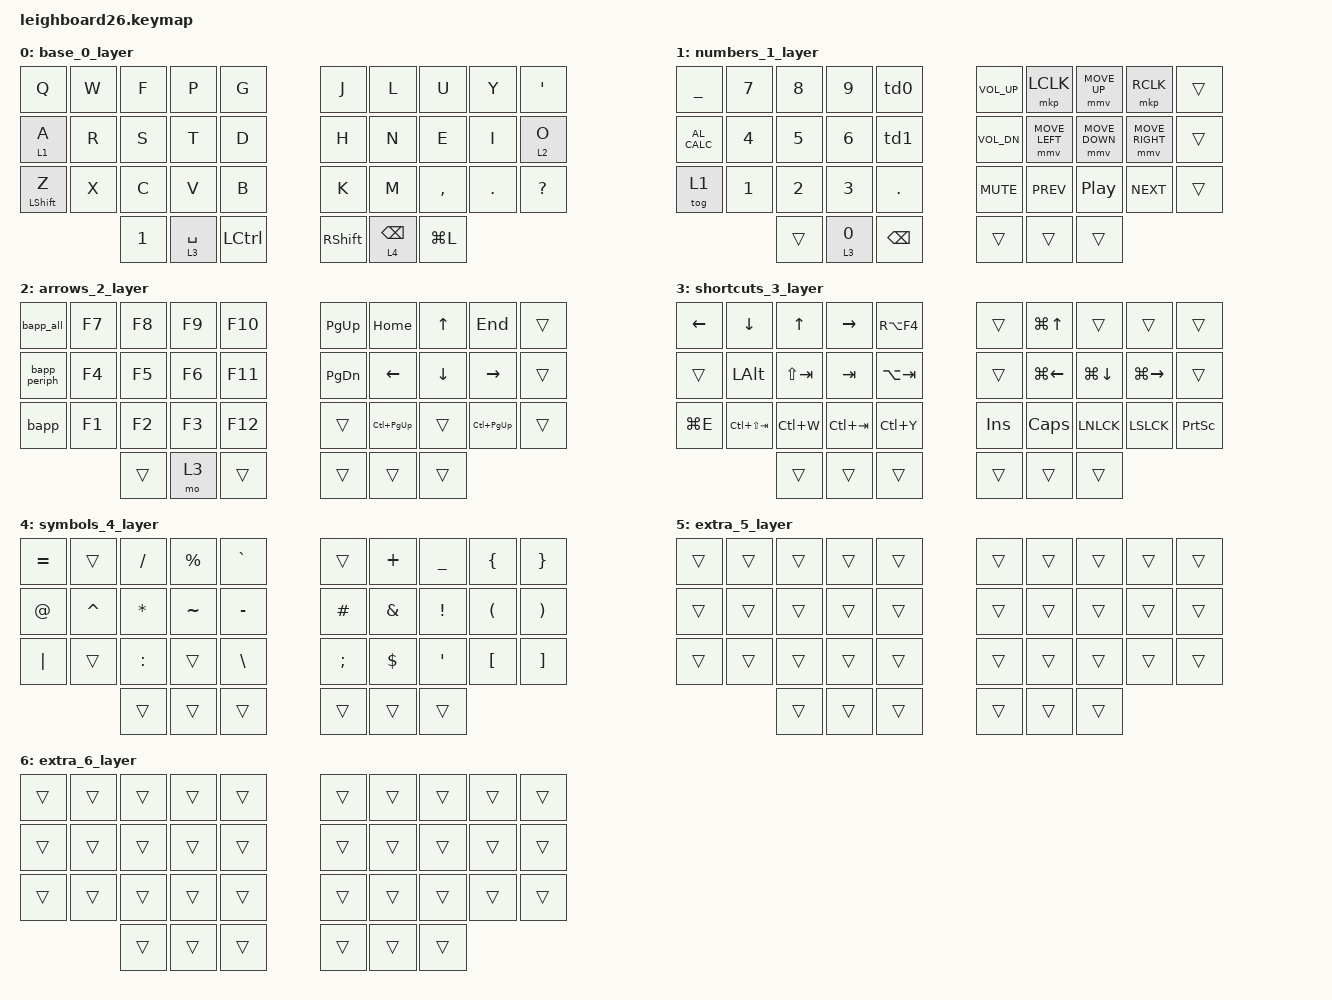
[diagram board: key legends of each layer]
#include <behaviors.dtsi>
#include <dt-bindings/zmk/keys.h>
#include <dt-bindings/zmk/pointing.h>
#include <behaviors/battery_percentage_printer.dtsi>

#define BASE_0 0
#define NUMBERS_1 1
#define ARROWS_2 2
#define SHORTCUTS_3 3
#define SYMBOLS_4 4
#define EXTRA_5 5
#define EXTRA_6 6

/ {
    behaviors {
        td0: td_slash_star {
            compatible = "zmk,behavior-tap-dance";
            #binding-cells = <0>;
            tapping-term-ms = <400>;
            bindings = <&kp FSLH>, <&kp STAR>;
        };
                td1: td_minus_plus {
            compatible = "zmk,behavior-tap-dance";
            #binding-cells = <0>;
            tapping-term-ms = <400>;
            bindings = <&kp MINUS>, <&kp PLUS>;
        };
    };

    macros {
        m_leigh_b: m_leigh_b {
            compatible = "zmk,behavior-macro";
            #binding-cells = <0>; 
            bindings
                = <&kp L &kp E &kp I &kp G &kp H>
                  , <&kp DOT>
                  , <&kp B &kp O &kp T &kp T &kp E &kp C &kp H &kp I &kp A>
                  , <&kp AT>
                  , <&kp R &kp I &kp O &kp T &kp I &kp N &kp T &kp O>
                  , <&kp DOT>
                  , <&kp C &kp O &kp M>;
        };

        m_login: m_login {
            compatible = "zmk,behavior-macro";
            #binding-cells = <0>;
            bindings = <&kp N6 &kp N0 &kp N0 &kp N6 &kp N1 &kp N8>;
        };

        m_bday: m_bday {
            compatible = "zmk,behavior-macro";
            #binding-cells = <0>;
            bindings = <&kp N1 &kp N8 &kp N0 &kp N3 &kp N9 &kp N4>;
        };
    };
    
        combos {
            compatible = "zmk,combos";
                    combo_esc {
                timeout-ms = <35>;
                key-positions = <20 21>;
                layers = <0 1>;
                bindings = <&kp ESC>;
            };
                    combo_delete {
                timeout-ms = <35>;
                key-positions = <21 22>;
                layers = <0 1>;
                bindings = <&kp DEL>;
            };
                    combo_enter {
                timeout-ms = <35>;
                key-positions = <22 23>;
                layers = <0 1>;
                bindings = <&kp RET>;
            };
                    combo_win1 {
                timeout-ms = <35>;
                key-positions = <23 24>;
                layers = <0 1>;
                bindings = <&kp LGUI>;
            };
                    combo_win2 {
                timeout-ms = <35>;
                key-positions = <25 26>;
                layers = <0 1>;
                bindings = <&kp RGUI>;
            };
                    combo_alt1 {
                timeout-ms = <35>;
                key-positions = <3 4>;
                layers = <0 1>;
                bindings = <&kp LALT>;
            };
                    combo_alt2 {
                timeout-ms = <35>;
                key-positions = <5 6>;
                layers = <0 1>;
                bindings = <&kp RALT>;
            };
                    combo_nums {
                timeout-ms = <35>;
                key-positions = <20 21 22>;
                layers = <0 1>;
                bindings = <&tog 1>;
            };
                    combo_print {
                timeout-ms = <35>;
                key-positions = <20 22>;
                layers = <0 1>;
                bindings = <&kp PSCRN>;
            };
                    combo_snip {
                timeout-ms = <35>;
                key-positions = <21 23>;
                layers = <0 1>;
                bindings = <&kp LS(LG(S))>;
            };
        };

        keymap {
                compatible = "zmk,keymap";

                base_0_layer {
                        bindings = <
&kp Q       &kp W  &kp F &kp P &kp G    &kp J &kp L &kp U     &kp Y   &kp APOS
&lt 1 A     &kp R  &kp S &kp T &kp D    &kp H &kp N &kp E     &kp I   &lt 2 O
&mt LSHFT Z &kp X  &kp C &kp V &kp B    &kp K &kp M &kp COMMA &kp DOT &kp QMARK
           &kp N1     &lt 3 SPACE &kp LCTRL       &kp RSHFT &lt 4 BSPC &kp LG(L)
                        >;
                };

                numbers_1_layer {
                        bindings = <
&kp UNDER     &kp N7 &kp N8 &kp N9 &td0                &kp C_VOL_UP &mkp LCLK      &mmv MOVE_UP   &mkp RCLK       &trans
&kp C_AL_CALC &kp N4 &kp N5 &kp N6 &td1                &kp C_VOL_DN &mmv MOVE_LEFT &mmv MOVE_DOWN &mmv MOVE_RIGHT &trans
&tog 1        &kp N1 &kp N2 &kp N3 &kp DOT             &kp C_MUTE   &kp C_PREV     &kp C_PP       &kp C_NEXT      &trans
                &trans    &lt 3 N0 &kp BSPC                &trans &trans &trans
                        >;
                };

                arrows_2_layer {
                        bindings = <
&bapp_all    &kp F7 &kp F8 &kp F9 &kp F10                   &kp PG_UP &kp HOME      &kp UP   &kp END       &trans
&bapp_periph &kp F4 &kp F5 &kp F6 &kp F11                   &kp PG_DN &kp LEFT      &kp DOWN &kp RIGHT     &trans
&bapp        &kp F1 &kp F2 &kp F3 &kp F12                   &trans    &kp LC(PG_UP) &trans   &kp LC(PG_UP) &trans
              &trans       &mo 3   &trans                &trans &trans &trans
                        >;
                };

                shortcuts_3_layer {
                        bindings = <
&kp LEFT  &kp DOWN        &kp UP      &kp RIGHT   &kp RA(F4)     &trans  &kp LG(UP)   &trans       &trans        &trans
&trans    &kp LALT        &kp LS(TAB) &kp TAB     &kp LA(TAB)    &trans  &kp LG(LEFT) &kp LG(DOWN) &kp LG(RIGHT) &trans   
&kp LG(E) &kp LC(LS(TAB)) &kp LC(W)   &kp LC(TAB) &kp LC(Y)      &kp INS &kp CAPS     &kp LNLCK    &kp LSLCK     &kp PSCRN
                                 &trans           &trans &trans        &trans &trans &trans
                        >;
                };

                symbols_4_layer {
                        bindings = <
&kp EQUAL &trans     &kp FSLH  &kp PRCNT &kp GRAVE          &trans    &kp PLUS  &kp UNDER &kp LBRC &kp RBRC
&kp AT    &kp CARET  &kp STAR  &kp TILDE &kp MINUS          &kp HASH  &kp AMPS  &kp EXCL  &kp LPAR &kp RPAR
&kp PIPE  &trans     &kp COLON &trans    &kp BSLH           &kp SEMI  &kp DLLR  &kp SQT   &kp LBKT &kp RBKT
                                 &trans  &trans &trans             &trans &trans &trans
                        >;
                };

            extra_5_layer {
                bindings = <
&trans &trans &trans &trans &trans    &trans &trans &trans &trans &trans
&trans &trans &trans &trans &trans    &trans &trans &trans &trans &trans
&trans &trans &trans &trans &trans    &trans &trans &trans &trans &trans
       &trans &trans &trans           &trans &trans &trans
    >;
};

            extra_6_layer {
                bindings = <
&trans &trans &trans &trans &trans    &trans &trans &trans &trans &trans
&trans &trans &trans &trans &trans    &trans &trans &trans &trans &trans
&trans &trans &trans &trans &trans    &trans &trans &trans &trans &trans
       &trans &trans &trans           &trans &trans &trans
    >;
};

        };
};
